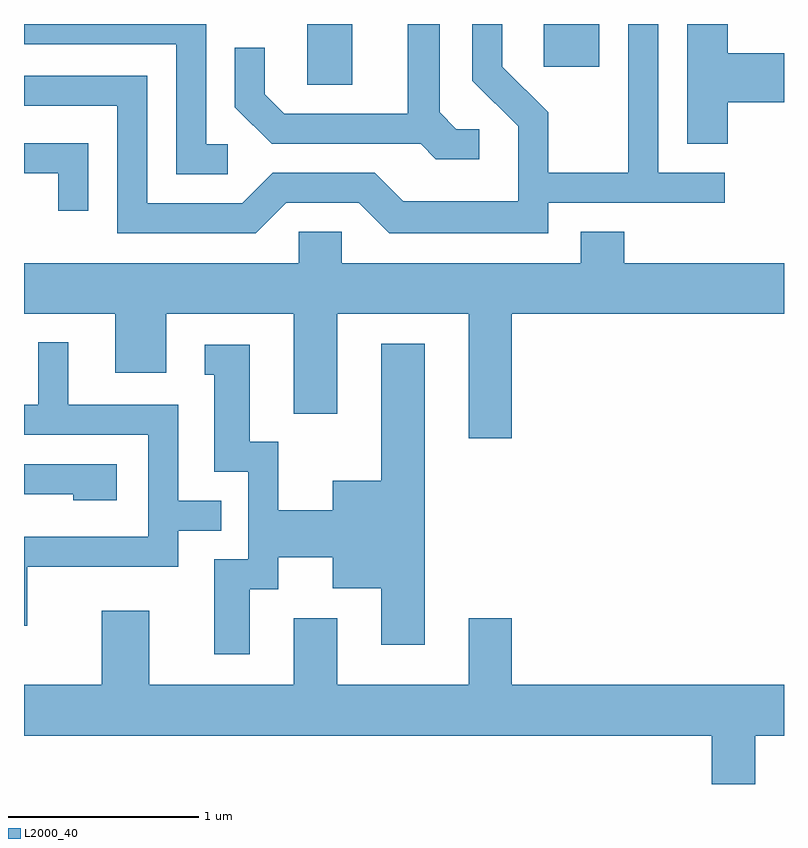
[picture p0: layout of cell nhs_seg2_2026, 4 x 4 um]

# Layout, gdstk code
import gdstk
lib = gdstk.Library(unit=1e-6, precision=1e-09)
def R(c, l, rs):  # rectangles x0, y0, x1, y1
    for r in rs: c.add(gdstk.rectangle(r[:2], r[2:], *l))
def P(c, l, *ps):  # polygons
    for p in ps: c.add(gdstk.Polygon(p, *l))
L2000_40 = (2000, 40)

nhs_seg2_2026 = lib.new_cell('nhs_seg2_2026')
R(nhs_seg2_2026, L2000_40, [(245.101,1089.481,245.339,1089.802), (246.346,1089.576,246.639,1089.802)])
P(nhs_seg2_2026, L2000_40, [(247.314,1089.391),(247.611,1089.391),(247.611,1089.649),(247.314,1089.649),(247.314,1089.802),(247.101,1089.802),(247.101,1089.171),(247.314,1089.171)],
  [(244.992,1088.861),(245.374,1088.861),(245.534,1088.701),(246.369,1088.701),(246.369,1088.861),(247.298,1088.861),(247.298,1089.019),(246.949,1089.019),(246.949,1089.802),(246.791,1089.802),(246.791,1089.019),(246.369,1089.019),(246.369,1089.337),(246.129,1089.577),(246.129,1089.802),(245.971,1089.802),(245.971,1089.504),(246.211,1089.264),(246.211,1088.869),(245.607,1088.869),(245.457,1089.019),(244.919,1089.019),(244.759,1088.859),(244.259,1088.859),(244.259,1089.529),(243.611,1089.529),(243.611,1089.371),(244.101,1089.371),(244.101,1088.701),(244.832,1088.701)],
  [(246.008,1089.249),(245.887,1089.249),(245.799,1089.337),(245.799,1089.802),(245.631,1089.802),(245.631,1089.329),(244.982,1089.329),(244.879,1089.432),(244.879,1089.678),(244.721,1089.678),(244.721,1089.364),(244.914,1089.171),(245.699,1089.171),(245.779,1089.091),(246.008,1089.091)],
  [(244.683,1089.169),(244.569,1089.169),(244.569,1089.802),(243.611,1089.802),(243.611,1089.696),(244.411,1089.696),(244.411,1089.011),(244.683,1089.011)],
  [(243.949,1089.174),(243.611,1089.174),(243.611,1089.016),(243.791,1089.016),(243.791,1088.818),(243.949,1088.818)],
  [(246.179,1088.276),(247.611,1088.276),(247.611,1088.544),(246.769,1088.544),(246.769,1088.709),(246.541,1088.709),(246.541,1088.544),(245.284,1088.544),(245.284,1088.709),(245.056,1088.709),(245.056,1088.544),(243.611,1088.544),(243.611,1088.276),(244.091,1088.276),(244.091,1087.966),(244.359,1087.966),(244.359,1088.276),(245.031,1088.276),(245.031,1087.751),(245.259,1087.751),(245.259,1088.276),(245.951,1088.276),(245.951,1087.621),(246.179,1087.621)],
  [(243.629,1086.946),(244.424,1086.946),(244.424,1087.136),(244.648,1087.136),(244.648,1087.294),(244.424,1087.294),(244.424,1087.799),(243.844,1087.799),(243.844,1088.128),(243.686,1088.128),(243.686,1087.799),(243.611,1087.799),(243.611,1087.641),(244.266,1087.641),(244.266,1087.104),(243.611,1087.104),(243.611,1086.636),(243.629,1086.636)],
  [(244.799,1086.826),(244.949,1086.826),(244.949,1086.996),(245.236,1086.996),(245.236,1086.831),(245.491,1086.831),(245.491,1086.536),(245.719,1086.536),(245.719,1088.119),(245.491,1088.119),(245.491,1087.399),(245.236,1087.399),(245.236,1087.244),(244.949,1087.244),(244.949,1087.604),(244.799,1087.604),(244.799,1088.114),(244.563,1088.114),(244.563,1087.956),(244.611,1087.956),(244.611,1087.446),(244.791,1087.446),(244.791,1086.984),(244.611,1086.984),(244.611,1086.486),(244.799,1086.486)],
  [(244.099,1087.484),(243.611,1087.484),(243.611,1087.326),(243.871,1087.326),(243.871,1087.296),(244.099,1087.296)],
  [(247.459,1086.056),(247.611,1086.056),(247.611,1086.324),(246.179,1086.324),(246.179,1086.674),(245.951,1086.674),(245.951,1086.324),(245.259,1086.324),(245.259,1086.674),(245.031,1086.674),(245.031,1086.324),(244.269,1086.324),(244.269,1086.714),(244.021,1086.714),(244.021,1086.324),(243.611,1086.324),(243.611,1086.056),(247.231,1086.056),(247.231,1085.802),(247.459,1085.802)])

lib.write_gds('nhs_seg2_2026.gds')
